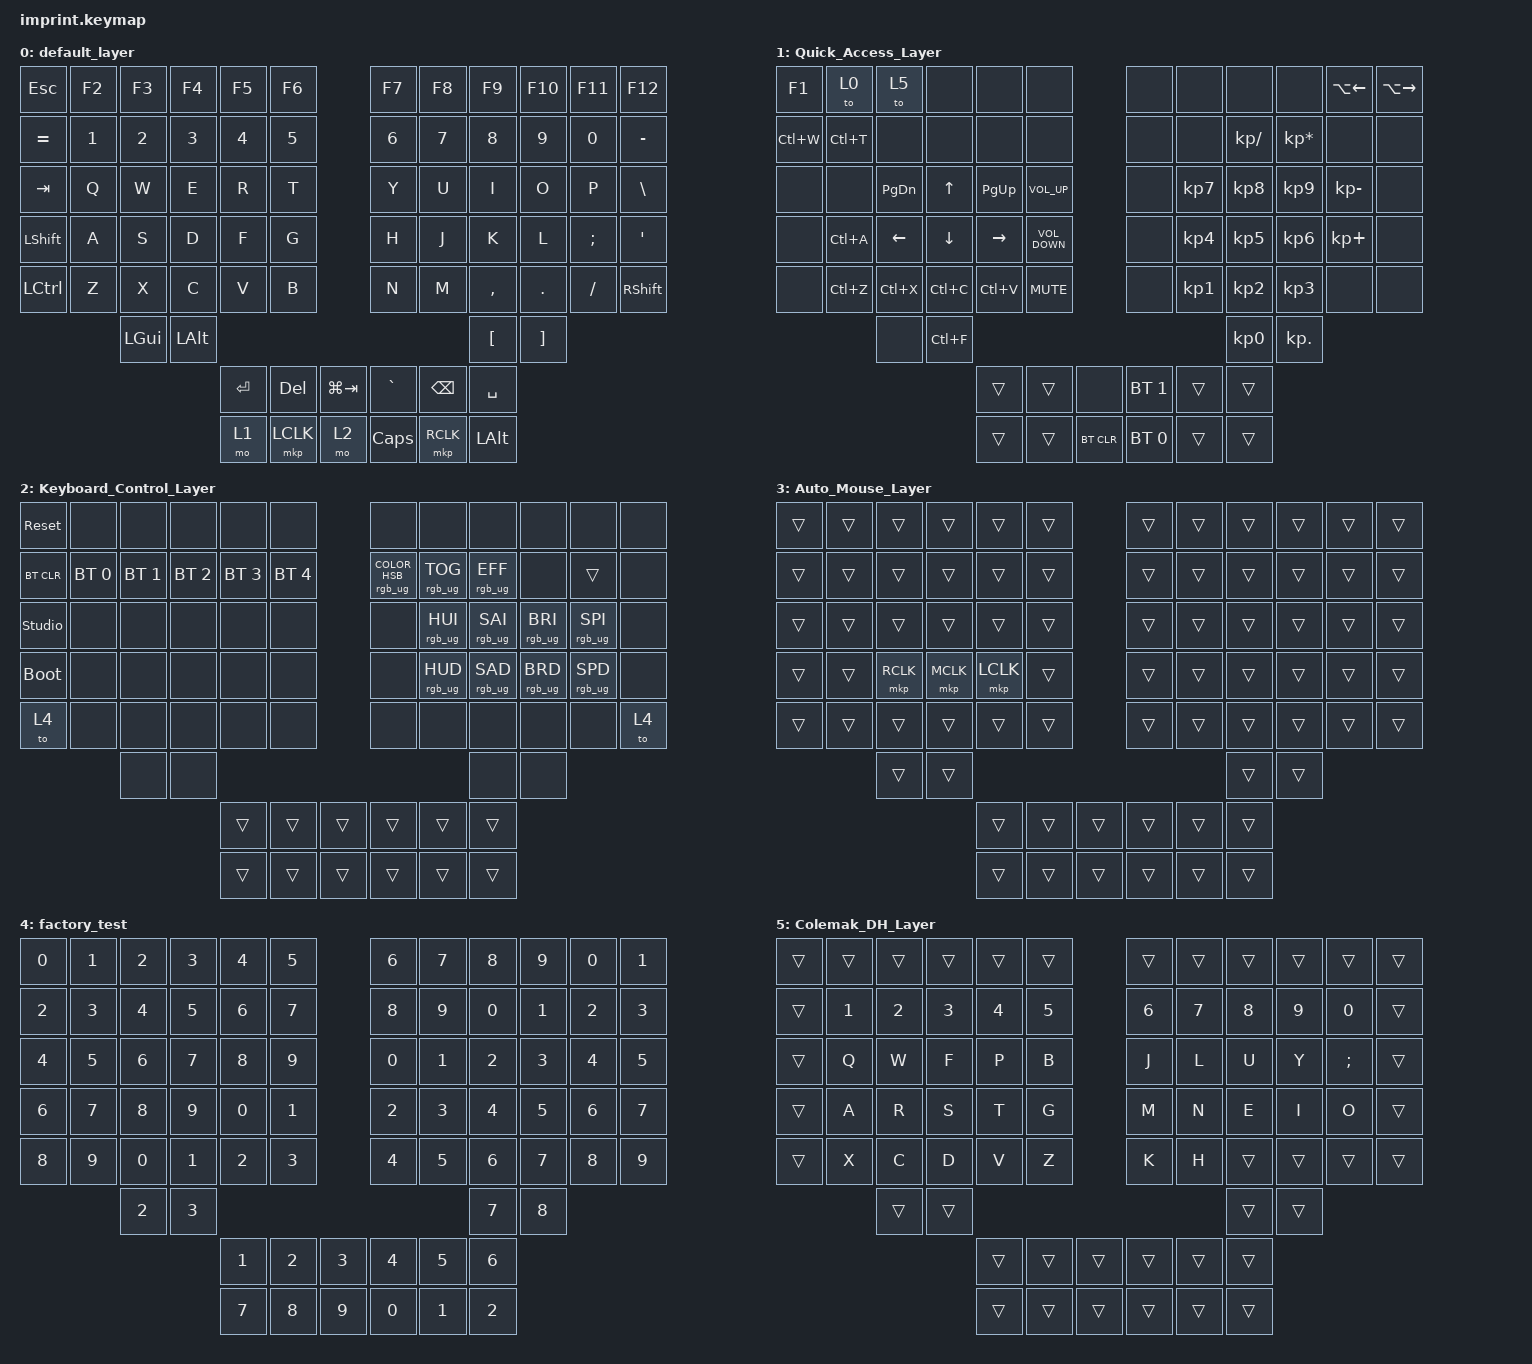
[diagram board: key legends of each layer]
#include <input/processors.dtsi>
#include <dt-bindings/zmk/input_transform.h>
#include <behaviors.dtsi>
#include <dt-bindings/zmk/bt.h>
#include <dt-bindings/zmk/keys.h>
#include <dt-bindings/zmk/pointing.h>
#include <dt-bindings/zmk/rgb.h>

/ {
    chosen { zmk,matrix-transform = &imprint_function_row; };

    keymap {
        compatible = "zmk,keymap";

        default_layer {
            bindings = <
&kp ESC         &kp F2  &kp F3        &kp F4    &kp F5   &kp F6                    &kp F7     &kp F8     &kp F9     &kp F10   &kp F11   &kp F12
&kp EQUAL       &kp N1  &kp N2        &kp N3    &kp N4   &kp N5                    &kp N6     &kp N7     &kp N8     &kp N9    &kp N0    &kp MINUS
&kp TAB         &kp Q   &kp W         &kp E     &kp R    &kp T                     &kp Y      &kp U      &kp I      &kp O     &kp P     &kp BSLH
&kp LEFT_SHIFT  &kp A   &kp S         &kp D     &kp F    &kp G                     &kp H      &kp J      &kp K      &kp L     &kp SEMI  &kp SQT
&kp LCTRL       &kp Z   &kp X         &kp C     &kp V    &kp B                     &kp N      &kp M      &kp COMMA  &kp DOT   &kp FSLH  &kp RSHFT
                        &kp LEFT_GUI  &kp LALT                                                           &kp LBKT   &kp RBKT
                                                &kp RET  &kp DEL    &kp LG(TAB)    &kp GRAVE  &kp BSPC   &kp SPACE
                                                &mo 1    &mkp LCLK  &mo 2          &kp CAPS   &mkp RCLK  &kp LALT
            >;
        };

        Quick_Access_Layer {
            bindings = <
&kp F1     &to 0      &to 5          &none      &none        &none                            &none         &none            &none            &none            &kp LA(LEFT)     &kp LA(RIGHT)
&kp LC(W)  &kp LC(T)  &none          &none      &none        &none                            &none         &none            &kp KP_DIVIDE    &kp KP_MULTIPLY  &none            &none
&none      &none      &kp PAGE_DOWN  &kp UP     &kp PAGE_UP  &kp C_VOLUME_UP                  &none         &kp KP_NUMBER_7  &kp KP_NUMBER_8  &kp KP_NUMBER_9  &kp KP_SUBTRACT  &none
&none      &kp LC(A)  &kp LEFT       &kp DOWN   &kp RIGHT    &kp C_VOLUME_DOWN                &none         &kp KP_NUMBER_4  &kp KP_NUMBER_5  &kp KP_NUMBER_6  &kp KP_PLUS      &none
&none      &kp LC(Z)  &kp LC(X)      &kp LC(C)  &kp LC(V)    &kp C_MUTE                       &none         &kp KP_NUMBER_1  &kp KP_NUMBER_2  &kp KP_NUMBER_3  &none            &none
                      &none          &kp LC(F)                                                                               &kp KP_NUMBER_0  &kp KP_DOT
                                                &trans       &trans             &none         &bt BT_SEL 1  &trans           &trans
                                                &trans       &trans             &bt BT_CLR    &bt BT_SEL 0  &trans           &trans
            >;
        };

        Keyboard_Control_Layer {
            bindings = <
&sys_reset      &none         &none         &none         &none         &none                   &none                            &none            &none            &none            &none            &none
&bt BT_CLR      &bt BT_SEL 0  &bt BT_SEL 1  &bt BT_SEL 2  &bt BT_SEL 3  &bt BT_SEL 4            &rgb_ug RGB_COLOR_HSB(31,59,47)  &rgb_ug RGB_TOG  &rgb_ug RGB_EFF  &none            &trans           &none
&studio_unlock  &none         &none         &none         &none         &none                   &none                            &rgb_ug RGB_HUI  &rgb_ug RGB_SAI  &rgb_ug RGB_BRI  &rgb_ug RGB_SPI  &none
&bootloader     &none         &none         &none         &none         &none                   &none                            &rgb_ug RGB_HUD  &rgb_ug RGB_SAD  &rgb_ug RGB_BRD  &rgb_ug RGB_SPD  &none
&to 4           &none         &none         &none         &none         &none                   &none                            &none            &none            &none            &none            &to 4
                              &none         &none                                                                                                 &none            &none
                                                          &trans        &trans        &trans    &trans                           &trans           &trans
                                                          &trans        &trans        &trans    &trans                           &trans           &trans
            >;
        };

        Auto_Mouse_Layer {
            bindings = <
&trans  &trans  &trans     &trans     &trans     &trans            &trans  &trans  &trans  &trans  &trans  &trans
&trans  &trans  &trans     &trans     &trans     &trans            &trans  &trans  &trans  &trans  &trans  &trans
&trans  &trans  &trans     &trans     &trans     &trans            &trans  &trans  &trans  &trans  &trans  &trans
&trans  &trans  &mkp RCLK  &mkp MCLK  &mkp LCLK  &trans            &trans  &trans  &trans  &trans  &trans  &trans
&trans  &trans  &trans     &trans     &trans     &trans            &trans  &trans  &trans  &trans  &trans  &trans
                &trans     &trans                                                  &trans  &trans
                                      &trans     &trans  &trans    &trans  &trans  &trans
                                      &trans     &trans  &trans    &trans  &trans  &trans
            >;
        };

        factory_test {
            bindings = <
&kp N0  &kp N1  &kp N2  &kp N3  &kp N4  &kp N5            &kp N6  &kp N7  &kp N8  &kp N9  &kp N0  &kp N1
&kp N2  &kp N3  &kp N4  &kp N5  &kp N6  &kp N7            &kp N8  &kp N9  &kp N0  &kp N1  &kp N2  &kp N3
&kp N4  &kp N5  &kp N6  &kp N7  &kp N8  &kp N9            &kp N0  &kp N1  &kp N2  &kp N3  &kp N4  &kp N5
&kp N6  &kp N7  &kp N8  &kp N9  &kp N0  &kp N1            &kp N2  &kp N3  &kp N4  &kp N5  &kp N6  &kp N7
&kp N8  &kp N9  &kp N0  &kp N1  &kp N2  &kp N3            &kp N4  &kp N5  &kp N6  &kp N7  &kp N8  &kp N9
                &kp N2  &kp N3                                            &kp N7  &kp N8
                                &kp N1  &kp N2  &kp N3    &kp N4  &kp N5  &kp N6
                                &kp N7  &kp N8  &kp N9    &kp N0  &kp N1  &kp N2
            >;
        };

        Colemak_DH_Layer {
            bindings = <
&trans  &trans  &trans  &trans  &trans  &trans            &trans  &trans  &trans  &trans  &trans         &trans
&trans  &kp N1  &kp N2  &kp N3  &kp N4  &kp N5            &kp N6  &kp N7  &kp N8  &kp N9  &kp N0         &trans
&trans  &kp Q   &kp W   &kp F   &kp P   &kp B             &kp J   &kp L   &kp U   &kp Y   &kp SEMICOLON  &trans
&trans  &kp A   &kp R   &kp S   &kp T   &kp G             &kp M   &kp N   &kp E   &kp I   &kp O          &trans
&trans  &kp X   &kp C   &kp D   &kp V   &kp Z             &kp K   &kp H   &trans  &trans  &trans         &trans
                &trans  &trans                                            &trans  &trans
                                &trans  &trans  &trans    &trans  &trans  &trans
                                &trans  &trans  &trans    &trans  &trans  &trans
            >;
        };
    };
};

//right hand trackball configuration

&trackball_peripheral_listener {
    input-processors =
        // this gets it to the default installation orientation,,,,,,,,,,
        // <&zip_xy_transform INPUT_TRANSFORM_XY_SWAP>;,,,,,,,,,
        // activate layer 3 within 500ms of the trackball moving,,,,,,,,,
        <&zip_temp_layer 3 750>;
};

//left hand trackball configuration

&trackball_central_listener {
    input-processors =
        // this gets it to the default installation orientation,,,,,,,,,,
        // <&zip_xy_transform INPUT_TRANSFORM_XY_SWAP>,,,,,,,,,,
        // multiply sensitivity by 1, divide by 3 (make it slower for scrolling),,,,,,,,,,
        <&zip_xy_scaler 1 12>,
        // make this trackball output scrolling events by default instead of cursor movement,,,,,,,,,,
        <&zip_xy_to_scroll_mapper>,
        // invert vertical scrolling so that the view moves in the same direction as the top of the trackball.,,,,,,,,,,
        <&zip_scroll_transform INPUT_TRANSFORM_Y_INVERT>;
};
